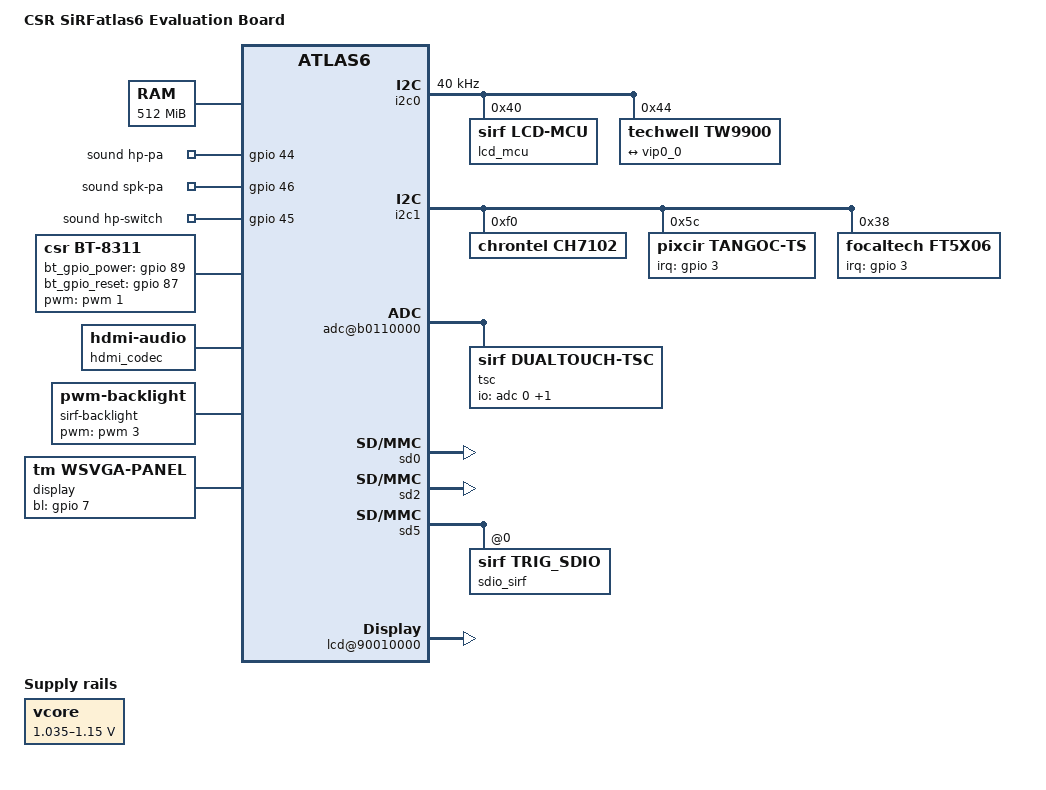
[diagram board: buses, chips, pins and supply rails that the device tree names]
/*
 * DTS file for CSR SiRFatlas6 Evaluation Board
 *
 * Copyright (c) 2012 Cambridge Silicon Radio Limited, a CSR plc group company.
 *
 * Licensed under GPLv2 or later.
 */

/dts-v1/;

/include/ "atlas6.dtsi"

/ {
	model = "CSR SiRFatlas6 Evaluation Board";
	compatible = "sirf,atlas6-cb", "sirf,atlas6";
	cpus {
		cpu@0 {
			cpu0-supply = <&vcore>;
			operating-points = <
				/* kHz    uV */
				200000  1035000
				400000  1035000
				600000  1150000
				800000  1150000
			>;
		};
	};

	memory {
		reg = <0x00000000 0x20000000>;
	};
	sound {
		compatible = "sirf,sirf-inner";
		sirf,inner-codec = <&audio>;
		sirf,inner-platform = <&audio>;
		hp-pa-gpios = <&gpio 44 0>;
		spk-pa-gpios = <&gpio 46 0>;
		hp-switch-gpios = <&gpio 45 0>;
	};

	bt {
		compatible = "csr,bt-8311";
		bt_gpio_power = <&gpio 89 0>;
		bt_gpio_reset = <&gpio 87 0>;
		pinctrl-names = "default";
		pinctrl-0 = <&pwm1_pins_a>;
		pwms = <&pwm 1 30518>;
	};

	bt_sco: bt_sco@0 {
		#sound-dai-cells = <0>;
		compatible = "bt-sco";
		status = "okay";
	};

	sirf-bt-sco {
		compatible = "simple-audio-card";
		simple-audio-card,format = "dsp_a";
		simple-audio-card,cpu {
			sound-dai = <&usp0>;
		};
		simple-audio-card,codec {
			sound-dai = <&bt_sco>;
			bitclock-master;
			frame-master;
		};
	};

	hdmi_codec: hdmi_codec@0 {
		#sound-dai-cells = <0>;
		compatible = "linux,hdmi-audio";
		status = "okay";
	};

	sirf-hdmi {
		compatible = "simple-audio-card";
		simple-audio-card,format = "i2s";
		simple-audio-card,cpu {
			sound-dai = <&i2s>;
		};
		simple-audio-card,codec {
			sound-dai = <&hdmi_codec>;
			bitclock-master;
			frame-master;
		};
	};

	sirf-backlight {
		compatible = "pwm-backlight";
		pinctrl-names = "default";
		pinctrl-0 = <&pwm3_pins_a>;
		pwms = <&pwm 3 50000>;
		brightness-levels = <0 48 56 64 96 112 128 255>;
		default-brightness-level = <6>;
	};
	axi {
		dsp-iobg {
			gps@a8010000 {
				compatible = "sirf,prima2-gps";
				shutdown-gpios = <&gpio 6 0>;
				grst-gpios = <&gpio 8 0>;
				clk-out-gpios = <&gpio 61 0>;
				lan-en-gpios = <&gpio 64 0>;
			};
		};
		peri-iobg {
			gpio: pinctrl@b0120000 {
				sirf,pullups = <0 0 0 0 0>;
				sirf,pulldowns = <0 0x00100000 0 0 0>;
			};
			uart@b0050000 {
				pinctrl-names = "default";
				pinctrl-0 = <&uart0_pins_a>;
				sirf,uart-has-rtscts;
			};
			uart@b0060000 {
				pinctrl-names = "default";
				pinctrl-0 = <&uart1_pins_a>;
			};
			uart@b0070000 {
				pinctrl-names = "default";
				pinctrl-0 = <&uart2_pins_a>;
				sirf,uart-has-rtscts;
			};
			i2s@b0040000 {
				pinctrl-names = "default";
				pinctrl-0 = <&i2s_pins_a>;
			};
			vip@b00C0000 {
				status = "okay";
				pinctrl-names = "default";
				pinctrl-0 = <&vip_pins_a>;
				rearview-gpio = <&gpio 4 0>;
				port {
					#address-cells = <1>;
					#size-cells = <0>;
					vip0_0: endpoint@0 {
						reg = <0>;
						remote-endpoint = <&tw9900_1>;
						data-shift = <1>;	/* select pxd_data[7:0] as valid data */
					};
				};
			};
			spi@b0170000 {
				pinctrl-names = "default";
				pinctrl-0 = <&spi1_pins_a>;
			};
			usp@b0080000 {
				#sound-dai-cells = <0>;
				compatible = "sirf,prima2-usp-pcm", "sirf,prima2-usp";
				status = "okay";
				pinctrl-names = "default";
				pinctrl-0 = <&usp0_only_utfs_pins_a>;
			};
			i2c0: i2c@b00e0000 {
				status = "okay";
				pinctrl-names = "default";
				pinctrl-0 = <&i2c0_pins_a>;
				clock-frequency = <40000>;
				lcd_mcu: lcd_mcu@40{
					compatible = "sirf,lcd-mcu";
					reg = <0x40>;
				};
				tw9900: decoder@44 {
					compatible = "techwell,tw9900";
					reg = <0x44>;
					input-number = <2>;
					inputs = <&cvbs0 &cvbs1>;
					cvbs0: cvbs@0 {
						input-name = "camera";
						input-id = <0>;
					};
					cvbs1: cvbs@1 {
						input-name = "dvd";
						input-id = <1>;
					};
					port {
						tw9900_1: endpoint {
							remote-endpoint = <&vip0_0>;
						};
					};
				};
			};
			i2c1: i2c@b00f0000 {
				status = "okay";
				pinctrl-names = "default";
				pinctrl-0 = <&i2c1_pins_a>;
				ch7102@f0 {
					compatible = "chrontel,ch7102";
					reg = <0xf0>;
				};
				tangoc-ts@5c{
					compatible = "pixcir,tangoc-ts";
					interrupt-parent = <&gpio>;
					interrupts = <3 0x02>;
					reg = <0x5c>;
				};
				ft5x06@38{
					compatible = "focaltech,ft5x06";
					interrupt-parent = <&gpio>;
					interrupts = <3 0x02>;
                                        reg = <0x38>;
                                };
			};
			pwm: pwm@b0130000 {
				/* sigsrc1(pll1) is used for dvfs, ignore it */
				clocks = <&clks 21>, <&clks 1>, <&clks 3>,
					<&clks 0>, <&clks 4>;
				clock-names = "pwmc", "sigsrc0", "sigsrc2",
					"sigsrc3", "sigsrc4";
			};
			adc@b0110000 {
				tsc {
					compatible = "sirf,dualtouch-tsc";
					interrupts = <33>;
					io-channels = <&adc 0>, <&adc 1>;
					io-channel-names = "single_ts",
							"dual_ts";
				};
			};
			pci-iobg {
				sd0: sdhci@56000000 {
					status = "okay";
					pinctrl-names = "default";
					pinctrl-0 = <&sdmmc0_pins_a>;
				};
				sd2: sdhci@56200000 {
					status = "okay";
					pinctrl-names = "default";
					pinctrl-0 = <&sdmmc2_pins_a>;
				};
				sd5: sdhci@56500000 {
					status = "okay";
					pinctrl-names = "default";
					pinctrl-0 = <&sdmmc5_pins_a>;
					#address-cells = <1>;
					#size-cells = <0>;
					sdio_sirf@0 {
						compatible = "sirf,trig_sdio";
						reg = <0x0>;
					};
				};
			};
		};
		disp-iobg {
			lcd@90010000 {
				status = "okay";
				pinctrl-names = "default";
				pinctrl-0 = <&lcd_24pins_a>;
			};
		};
		uus-iobg {
			usbphy1: usbphy1@b8010200 {
				vbus-gpios = <&gpio 14 0>;
			};
		};
	};

	display: display@0 {
		compatible = "tm,WSVGA-panel", "rgb-panel";
		panel-ctrl = <&lcd_mcu>;
		source = "rgb.0";

		bl-gpios = <&gpio 7 0>;
		power-vcc  = <0x000d0008>;
		power-vdd  = <0x000b0006>;
		power-vee  = <0x000a0005>;
		data-lines = <24>;

		display-timings {
			native-mode = <&timing0>;
			timing0: timing0 {
				clock-frequency = <51200000>;
				hactive = <1024>;
				vactive = <600>;
				hfront-porch = <288>;
				hback-porch = <28>;
				hsync-len = <4>;
				vback-porch = <8>;
				vfront-porch = <24>;
				vsync-len = <3>;
				hsync-active = <0>;
				vsync-active = <0>;
				de-active = <0>;
				pixelclk-active = <0>;
			};
		};
	};
	vcore: regulator-gpio {
		compatible = "regulator-gpio";
		regulator-min-microvolt = <1035000>;
		regulator-max-microvolt = <1150000>;
		regulator-name = "vcore";
		regulator-type = "voltage";

		enable-at-boot;

		states = <1035000 0x1
			  1150000 0x0>;
		gpios = <&gpio 102 0>;
	};
};
